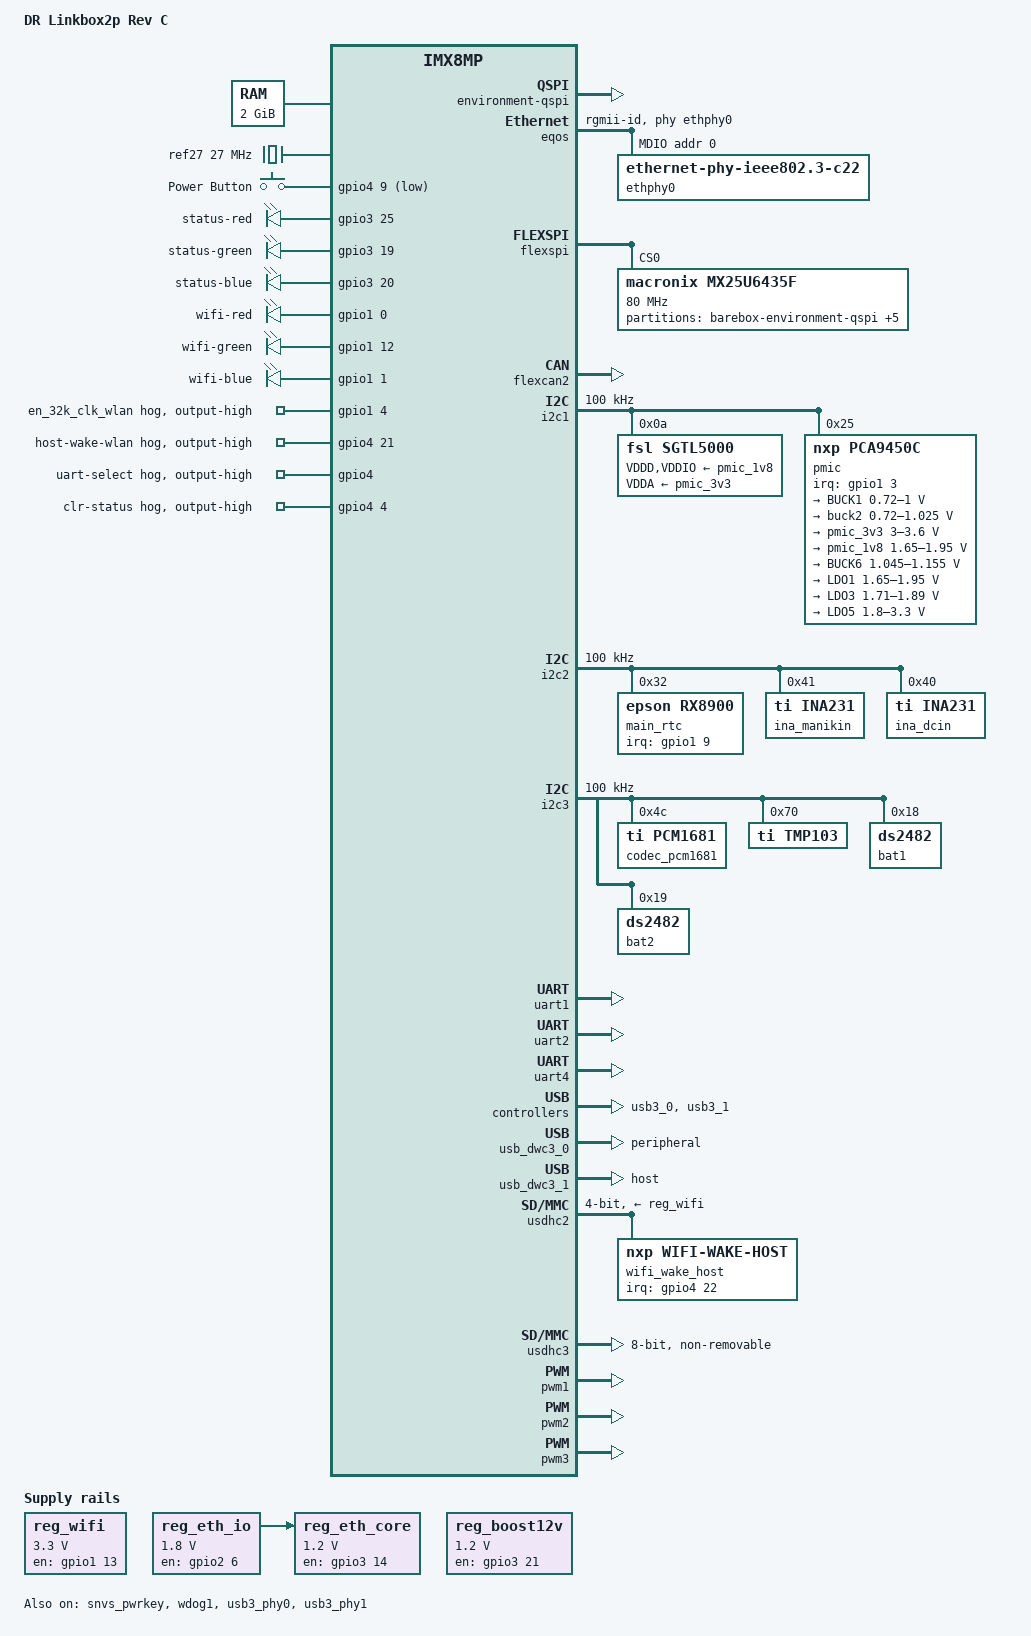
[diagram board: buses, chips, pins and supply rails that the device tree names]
/*
 * Copyright DATA RESPONS AS
 *
 * The code contained herein is licensed under the GNU General Public
 * License. You may obtain a copy of the GNU General Public License
 * Version 2 or later at the following locations:
 *
 * http://www.opensource.org/licenses/gpl-license.html
 * http://www.gnu.org/copyleft/gpl.html
 */
/dts-v1/;

#ifdef CONFIG_BOOTM_FITIMAGE_PUBKEY
#include CONFIG_BOOTM_FITIMAGE_PUBKEY
#endif

#include <dt-bindings/input/input.h>
#include <dt-bindings/gpio/gpio.h>
#include <dt-bindings/usb/pd.h>
#include "imx8mp-nominal.dtsi"
#include "imx8mp.dtsi"

/ {
	model = "DR Linkbox2p Rev C";
	compatible = "datarespons,linkbox2p", "fsl,imx8mp";

	aliases {
		mmc0 = &usdhc3;
		ethernet0 = &eqos;
		btserial = "ttymxc1";
		rtc0 = &main_rtc;
		rtc1 = &snvs_rtc;
		state = &state_linkbox;
	};

	chosen {
		stdout-path = &uart2;

		environment-qspi {
			compatible = "barebox,environment";
			device-path = &mx25u6435f, "partname:barebox-environment-qspi";
			status = "okay";
		};
	};

	memory@40000000 {
		device_type = "memory";
		reg = <0x0 0x40000000 0 0x80000000>; 	/* 2 GB DDR */
	};

	state_linkbox: state {
		magic = <0x883b86a6>;
		compatible = "barebox,state";
		backend-type = "raw";
		backend = <&backend_state_qspi>;
		backend-stridesize = <64>;
		status = "okay";
		backend-storage-type = "circular";

		#address-cells = <1>;
		#size-cells = <1>;
		bootstate {
			#address-cells = <1>;
			#size-cells = <1>;
			last_chosen {
				reg = <0x0 0x4>;
				type = "uint32";
			};
			system0 {
				#address-cells = <1>;
				#size-cells = <1>;
				remaining_attempts {
					reg = <0x4 0x4>;
					type = "uint32";
					default = <3>;
				};
				priority {
					reg = <0x8 0x4>;
					type = "uint32";
					default = <21>;
				};
				ok {
					reg = <0xc 0x4>;
					type = "uint32";
					default = <0>;
				};
			};
			system1 {
				#address-cells = <1>;
				#size-cells = <1>;
				remaining_attempts {
					reg = <0x10 0x4>;
					type = "uint32";
					default = <3>;
				};
				priority {
					reg = <0x14 0x4>;
					type = "uint32";
					default = <20>;
				};
				ok {
					reg = <0x18 0x4>;
					type = "uint32";
					default = <0>;
				};
			};
		};
	};
	/delete-node/ display-subsystem;


	clocks {
		wlan_clk: clock@1 {
		#clock-cells = <0>;
            compatible = "fixed-clock";
            clock-output-names = "slp-clk";
            clock-frequency = <32768>;
            gpio = <&gpio1 4 0>; // EN_32KO-RTC
        };

		/*bt_clk: clock@1 {
		#clock-cells = <0>;
            compatible = "fixed-clock";
            clock-output-names = "lpo";
            clock-frequency = <32768>;
        };*/

		/* 27MHz reference crystal */
		ref27: oscillator {
			compatible = "fixed-clock";
			#clock-cells = <0>;
			clock-frequency = <27000000>;
		};
	};

	regulators {
		compatible = "simple-bus";

		reg_wifi: wifi_pwr {
			compatible = "regulator-fixed";
			regulator-name = "reg_wifi";
			regulator-min-microvolt = <3300000>;
			regulator-max-microvolt = <3300000>;
			gpio = <&gpio1 13 0>; /* PMIC_EN-WLAN */
			enable-active-high;
			regulator-always-on;
		};

		reg_eth_io: eth-io {
			pinctrl-names = "default";
			pinctrl-0 = <&pinctrl_reg_eth_io>;
			compatible = "regulator-fixed";
			regulator-name = "reg-eth-io";
			regulator-min-microvolt = <1800000>;
			regulator-max-microvolt = <1800000>;
			gpio = <&gpio2 6 GPIO_ACTIVE_HIGH>; /* EN_PWR-ENET_A */
			enable-active-high;
		};

		reg_eth_core: eth-core {
			pinctrl-names = "default";
			pinctrl-0 = <&pinctrl_reg_eth_core>;
			compatible = "regulator-fixed";
			regulator-name = "reg-eth-core";
			regulator-min-microvolt = <1200000>;
			regulator-max-microvolt = <1200000>;
			gpio = <&gpio3 14 GPIO_ACTIVE_HIGH>; /* EN_1V2-ENET_A */
			enable-active-high;
			vin-supply = <&reg_eth_io>;
			startup-delay-us = <20>;
			regulator-always-on;
		};

		reg_boost12v: boost12v {
			compatible = "regulator-fixed";
			regulator-name = "reg-boost-12v";
			regulator-min-microvolt = <1200000>;
			regulator-max-microvolt = <1200000>;
			gpio = <&gpio3 21 GPIO_ACTIVE_HIGH>;
			enable-active-high;
			regulator-always-on;
		};
	};

	gpio-keys {
		compatible = "gpio-keys";
		power {
			label = "Power Button";
			gpios = <&gpio4 9 GPIO_ACTIVE_LOW>;
			linux,code = <KEY_POWER>; /* KEY_POWER */
			gpio-key,wakeup;
		};
	};

	leds {
		compatible = "gpio-leds";
		pinctrl-names = "default";
		pinctrl-0 = <&pinctrl_gpio_led>;

		status-red {
			gpios = <&gpio3 25 GPIO_ACTIVE_HIGH>;
			default-state = "off";
		};

		status-green {
			gpios = <&gpio3 19 GPIO_ACTIVE_HIGH>;
			default-state = "on";
			linux,default-trigger = "timer";
		};

		status-blue {
			gpios = <&gpio3 20 GPIO_ACTIVE_HIGH>;
			default-state = "off";
		};

		wifi-red {
			gpios = <&gpio1 0 GPIO_ACTIVE_HIGH>;
			default-state = "off";
		};

		wifi-green {
			gpios = <&gpio1 12 GPIO_ACTIVE_HIGH>;
			default-state = "off";
		};

		wifi-blue {
			gpios = <&gpio1 1 GPIO_ACTIVE_HIGH>;
			default-state = "off";
		};
	};

};

&gpc {
	compatible = "fsl,imx8mpl-gpc";
};

&A53_0 {
	cpu-supply = <&buck2>;
};

&A53_1 {
	cpu-supply = <&buck2>;
};

&A53_2 {
	cpu-supply = <&buck2>;
};

&A53_3 {
	cpu-supply = <&buck2>;
};

&snvs_pwrkey {
	status = "okay";
};

&gpio1 {
	gpio-line-names = "", "", "", "", "", "can-stby", "", "can-en-term",
						"can-shdn", "", "", "", "", "pmic-enable-wlan", "", "";

	en_32k_clk_wlan {
		gpio-hog;
		gpios = <4 GPIO_ACTIVE_HIGH>;
		output-high;
	};
};


&gpio3 {
	gpio-line-names = "", "", "", "", "", "", "", "",
						"spinor-wp", "", "", "", "", "", "", "";
};

&gpio4 {
	gpio-line-names = "", "", "", "", "", "", "", "",
						"", "", "", "", "", "", "mcu_reset", "mcu_boot0",
						"mcu_boot1", "hwrev0", "hwrev1", "hwrev2", "sai1-mclk", "host-wake-wlan", "wlan-wake-host", "",
						"", "", "", "", "", "", "", "";

	host-wake-wlan {
		gpio-hog;
		gpios = <21 GPIO_ACTIVE_HIGH>;
		output-high;
	};

	uart-select {
		gpio-hog;
		gpiso = <0 GPIO_ACTIVE_HIGH>;
		output-high;
	};

	clr-status {
		gpio-hog;
		gpios = <4 GPIO_ACTIVE_HIGH>;
		output-high;
	};
};

&gpio5 {
	gpio-line-names = "", "", "", "bt-wake-host", "host-wake-bt", "", "", "",
						"", "", "", "", "", "", "", "",
						"", "", "", "", "pcie-clkreqn", "", "", "";
};


&eqos {
	pinctrl-names = "default";
	pinctrl-0 = <&pinctrl_eqos>;
	phy-mode = "rgmii-id";
	phy-handle = <&ethphy0>;
	snps,force_thresh_dma_mode;
	status = "okay";
	snps,reset-gpios = <&gpio2 5 GPIO_ACTIVE_LOW>; /* ETHPHY_nRST */
	snps,reset-delays-us = <0 10000 30000>;
	status = "okay";

	mdio {
		compatible = "snps,dwmac-mdio";
		#address-cells = <1>;
		#size-cells = <0>;

		ethphy0: ethernet-phy@0 {
			compatible = "ethernet-phy-ieee802.3-c22";
			reg = <0>;
		};
	};
};


&flexspi {
	pinctrl-names = "default";
	pinctrl-0 = <&pinctrl_flexspi0>;
	status = "okay";

	mx25u6435f: flash@0 { /* MX25U6432FM2I02 (64 Mbit) */
		reg = <0>;
		#address-cells = <1>;
		#size-cells = <1>;
		compatible = "macronix,mx25u6435f", "jedec,spi-nor";
		spi-max-frequency = <80000000>;
		spi-tx-bus-width = <1>;
		spi-rx-bus-width = <4>;
		spi-nor,ddr-quad-read-dummy = <6>;

	};
};

&mx25u6435f {
	partitions {
		compatible = "fixed-partitions";
		#address-cells = <1>;
		#size-cells = <1>;

		partition@0 {
			label = "barebox-environment-qspi";
			reg = <0x0 0x40000>;
		};

		backend_state_qspi: state@40000 {
			label = "barebox-state";
			reg = <0x40000 0xc0000>;
		};

		partition@100000 {
			label = "system_a";
			reg = <0x100000 0x40000>;
		};
		partition@140000 {
			label = "system_b";
			reg = <0x140000 0x40000>;
		};

		partition@180000 {
			label = "user_a";
			reg = <0x180000 0x40000>;
		};
		partition@1c0000 {
			label = "user_b";
			reg = <0x1c0000 0x40000>;
		};
	};
};

&flexcan2 {
	pinctrl-names = "default";
	pinctrl-0 = <&pinctrl_flexcan2>;
	status = "okay";
};

&i2c1 {
	clock-frequency = <100000>;
	pinctrl-names = "default";
	pinctrl-0 = <&pinctrl_i2c1>;
	status = "okay";

	sgtl5000: audio-codec@a {
		compatible = "fsl,sgtl5000";
		clocks = <&si5351 0>;
		#sound-dai-cells = <0>;
		reg = <0x0a>;
		VDDD-supply = <&pmic_1v8>;
		VDDIO-supply = <&pmic_1v8>;
		VDDA-supply = <&pmic_3v3>;
		micbias-resistor-k-ohms = <0>;
		micbias-voltage-m-volts = <2500>;
	};

	pmic: pca9450@25 {
		compatible = "nxp,pca9450c";
		reg = <0x25>;
		pinctrl-names = "default";
		pinctrl-0 = <&pinctrl_pmic>;
		interrupt-parent = <&gpio1>;
		interrupts = <3 IRQ_TYPE_LEVEL_LOW>;

		regulators {
			BUCK1 {
				regulator-name = "BUCK1";
				regulator-min-microvolt = <720000>;
				regulator-max-microvolt = <1000000>;
				regulator-boot-on;
				regulator-always-on;
				regulator-ramp-delay = <3125>;
			};

			buck2: BUCK2 {
				regulator-name = "BUCK2";
				regulator-min-microvolt = <720000>;
				regulator-max-microvolt = <1025000>;
				regulator-boot-on;
				regulator-always-on;
				regulator-ramp-delay = <3125>;
				nxp,dvs-run-voltage = <950000>;
				nxp,dvs-standby-voltage = <850000>;
			};

			pmic_3v3: BUCK4 {
				regulator-name = "pmic-3v3";
				regulator-min-microvolt = <3000000>;
				regulator-max-microvolt = <3600000>;
				regulator-boot-on;
				regulator-always-on;
			};

			pmic_1v8: BUCK5 {
				regulator-name = "pmic-1v8";
				regulator-min-microvolt = <1650000>;
				regulator-max-microvolt = <1950000>;
				regulator-boot-on;
				regulator-always-on;
			};

			BUCK6 {
				regulator-name = "BUCK6";
				regulator-min-microvolt = <1045000>;
				regulator-max-microvolt = <1155000>;
				regulator-boot-on;
				regulator-always-on;
			};

			LDO1 {
				regulator-name = "LDO1";
				regulator-min-microvolt = <1650000>;
				regulator-max-microvolt = <1950000>;
				regulator-boot-on;
				regulator-always-on;
			};

			LDO3 {
				regulator-name = "LDO3";
				regulator-min-microvolt = <1710000>;
				regulator-max-microvolt = <1890000>;
				regulator-boot-on;
				regulator-always-on;
			};

			LDO5 {
				regulator-name = "LDO5";
				regulator-min-microvolt = <1800000>;
				regulator-max-microvolt = <3300000>;
				regulator-boot-on;
				regulator-always-on;
			};
		};
	};
};

&i2c2 { /* RTC X1B000271A00400/rx8900, PCIE_CLK PI6CFGL201BZDIE, MBATT BQ27541-G1 BQ28Z610 */
	clock-frequency = <100000>;
	pinctrl-names = "default";
	pinctrl-0 = <&pinctrl_i2c2>;
	status = "okay";

	main_rtc: rtc-rx8900@32 {
		compatible = "epson,rx8900";
		reg = <0x32>;
		interrupt-parent = <&gpio1>;
		interrupts = <9 IRQ_TYPE_LEVEL_LOW>;
	};

	ina_manikin: ina231@41 {
		compatible = "ti,ina231";
		reg = <0x41>;
		shunt-resistor = <10000>;
	};

	ina_dcin: ina231@40 {
		compatible = "ti,ina231";
		reg = <0x40>;
		shunt-resistor = <10000>;
	};
};

&i2c3 { /* CTP EXC80H32 , CTP EXC80H32	see exc3000.c */
	clock-frequency = <100000>;
	pinctrl-names = "default";
	pinctrl-0 = <&pinctrl_i2c3>;
	status = "okay";

	codec_pcm1681: pcm1681@4c {
		compatible = "ti,pcm1681";
		reg = <0x4c>;
		clocks = <&si5351 1>;
		clock-names = "mclk";
	};

	si5351: clock-generator@60 {
		compatible = "silabs,si5351a";
		reg = <0x60>;
		#address-cells = <1>;
		#size-cells = <0>;
		#clock-cells = <1>;
		status = "disabled";

		/* connect xtal input to 27MHz reference */
		clocks = <&ref27>;
		clock-names = "xtal";
		/* connect xtal input as source of pll0 and pll1 */
		silabs,pll-source = <0 0>, <1 0>;

		clkout0 {
			reg = <0>;
			silabs,drive-strength = <8>;
			silabs,multisynth-source = <0>;
			silabs,clock-source = <0>;
			silabs,pll-master;
			clock-frequency = <24576000>;
		};

		clkout1 {
			reg = <0>;
			silabs,drive-strength = <8>;
			silabs,multisynth-source = <0>;
			silabs,clock-source = <0>;
			silabs,pll-master;
			clock-frequency = <24576000>;
		};
	};

	/*thermal_sensor: TMP103AYFFR*/
	tmp103: tmp103@70 {
		compatible = "ti,tmp103";
		reg = <0x70>;
	};

	/* DS2482X-101+T */
	/* defconfig W1_MASTER_DS2482*/
	bat1: ds2482@18 {
		compatible = "ds2482";
		reg = <0x18>;
	};

	/* DS2482X-101+T */
	/* defconfig W1_MASTER_DS2482*/
	bat2: ds2482@19 {
		compatible = "ds2482";
		reg = <0x19>;
	};

};

&wdog1 {
	pinctrl-names = "default";
	pinctrl-0 = <&pinctrl_wdog>;
	fsl,ext-reset-output;
	status = "okay";
};

/* PAD defs for IMX8MP
BIT8: PULL Enable=1
BIT7: HYS Shmitt=1
BIT6: PUE Down=0, Up=1
BIT5: ODE
BIT4: SLEW Fast=1
BIT2:1 STRENGTH x1,x2,x4,x6
*/

&iomuxc {
	pinctrl-names = "default";
	pinctrl-0 = <&pinctrl_hog>;

	pinctrl_hog: hoggrp {
		fsl,pins = <
			MX8MP_IOMUXC_GPIO1_IO04__GPIO1_IO04			0x142		/* EN_32KO-RTC (WLAN SLP_CLK-WLAN)*/
			MX8MP_IOMUXC_GPIO1_IO09__GPIO1_IO09			0x1c0		/* RTC nIRQ */
			MX8MP_IOMUXC_GPIO1_IO13__GPIO1_IO13			0x002		/* GP--WL_BAT_PWR_EN PMIC_EN-WLAN */

			MX8MP_IOMUXC_SAI1_RXD7__GPIO4_IO09			0x180		/* PWR_BTN_SNS PWR_BTN_SNS-CPUGPI*/
			MX8MP_IOMUXC_SAI1_TXD5__GPIO4_IO17			0x00		/* HW_Setting_0 */
			MX8MP_IOMUXC_SAI1_TXD6__GPIO4_IO18			0x00		/* HW_Setting_1 */
			MX8MP_IOMUXC_SAI1_TXD7__GPIO4_IO19			0x00		/* HW_Setting_2 */
			MX8MP_IOMUXC_SAI2_MCLK__GPIO4_IO27			0x1c0		/* LINE_OUTD_DET */

			MX8MP_IOMUXC_SPDIF_EXT_CLK__GPIO5_IO05		0x1c0		/* LINE_IND_DET */
			MX8MP_IOMUXC_SPDIF_RX__GPIO5_IO04			0x142		/* HOST_WAKEUP_BT, PU */
			MX8MP_IOMUXC_SPDIF_TX__GPIO5_IO03			0x180		/* BT_WAKEUP_HOST, PD */

			MX8MP_IOMUXC_SAI1_TXD2__GPIO4_IO14			0x004  		/* GP-CPU2MCU_RST */
            MX8MP_IOMUXC_SAI1_TXD3__GPIO4_IO15			0x004  		/* MCU_BOOT0 */
            MX8MP_IOMUXC_SAI1_TXD4__GPIO4_IO16			0x004  		/* MCU_BOOT1 */

			MX8MP_IOMUXC_GPIO1_IO08__GPIO1_IO08			0x04		/* SHDN-CAN1 (ext pd) */
			MX8MP_IOMUXC_GPIO1_IO05__GPIO1_IO05			0x04		/* CAN1_STBY (ext pd) */

			MX8MP_IOMUXC_SAI1_RXFS__GPIO4_IO00			0x002		/* USB_UART_SELECT */
			MX8MP_IOMUXC_SAI5_RXD0__GPIO3_IO21			0x002		/* PWR_BOOST_EN */

			MX8MP_IOMUXC_UART1_RXD__GPIO5_IO22		0x106		/* EN-12V-MANIKIN */
			MX8MP_IOMUXC_UART1_TXD__GPIO5_IO23		0x106		/* EN-5V-MANIKIN */
			MX8MP_IOMUXC_GPIO1_IO06__GPIO1_IO06 	0x026		/* nSD-AC5W (OD) */
			MX8MP_IOMUXC_SAI1_RXD3__GPIO4_IO05		0x006		/* nSD-1WSP */
			MX8MP_IOMUXC_SAI5_RXD1__GPIO3_IO22		0x1c0		/* GP--BAT1_nDET */
			MX8MP_IOMUXC_SAI1_TXD1__GPIO4_IO13  	0x1c0		/* BAT2_DET_N */
            MX8MP_IOMUXC_SAI5_RXD2__GPIO3_IO23		0x1c0		/* nVALID_2 */
            MX8MP_IOMUXC_GPIO1_IO07__GPIO1_IO07		0x1c0		/* nVALID_3 */
            MX8MP_IOMUXC_SAI1_RXD5__GPIO4_IO07		0x000		/* START_ADAPTER-CPUGPI */
            MX8MP_IOMUXC_SAI1_RXD4__GPIO4_IO06		0x000		/* START_KEY-CPUGPI */

			MX8MP_IOMUXC_SAI1_RXD0__GPIO4_IO02		0x004		/* UV2-CPU */
			MX8MP_IOMUXC_SAI1_RXD1__GPIO4_IO03		0x004		/* UV3-CPU */
			MX8MP_IOMUXC_I2C4_SCL__GPIO5_IO20		0x004		/* EN_BAT1-CPU */
			MX8MP_IOMUXC_I2C4_SDA__GPIO5_IO21		0x004		/* EN_BAT2-CPU */
			MX8MP_IOMUXC_SAI1_RXD2__GPIO4_IO04		0x002		/* CLR_STATUS , CLR_STATUS-CPUGPO*/
			MX8MP_IOMUXC_SAI1_RXD6__GPIO4_IO08		0x000		/* DCIN_VALIDO from CPLD */
		>;
	};

	pinctrl_reg_eth_io: ethiogrp {
		fsl,pins = <
			MX8MP_IOMUXC_SD1_DATA4__GPIO2_IO06	0x104	/* EN_PWR-ENET_A */
		>;
	};

	pinctrl_reg_eth_core: ethcoregrp {
		fsl,pins = <
			MX8MP_IOMUXC_NAND_DQS__GPIO3_IO14	0x104	/* EN_1V2-ENET_A */
		>;
	};

	pinctrl_pmic: pmicgrp {
		fsl,pins = <
			MX8MP_IOMUXC_GPIO1_IO03__GPIO1_IO03		0x1c0	/* PMIC_nINT */
		>;
	};

	pinctrl_wifi1: wifi1grp {
		fsl,pins = <
			MX8MP_IOMUXC_SAI2_RXFS__GPIO4_IO21		0x142	/* HOST_WAKEUP_WLAN */
			MX8MP_IOMUXC_SAI2_RXC__GPIO4_IO22		0x1C0	/* WLAN_WAKEUP_HOST */
		>;
	};

	pinctrl_wdog: wdoggrp {
		fsl,pins = <
			MX8MP_IOMUXC_GPIO1_IO02__WDOG1_WDOG_B		  0xc6		 /* WDOG_B */
		>;
	};

	pinctrl_flexspi0: flexspi0grp {
		fsl,pins = <
			MX8MP_IOMUXC_NAND_ALE__FLEXSPI_A_SCLK		0x1c2
			MX8MP_IOMUXC_NAND_CE0_B__FLEXSPI_A_SS0_B	0x82
			MX8MP_IOMUXC_NAND_DATA00__FLEXSPI_A_DATA00	0x82
			MX8MP_IOMUXC_NAND_DATA01__FLEXSPI_A_DATA01	0x82
			MX8MP_IOMUXC_NAND_DATA02__FLEXSPI_A_DATA02	0x82
			MX8MP_IOMUXC_NAND_DATA03__FLEXSPI_A_DATA03	0x82
		>;
	};


	/* UART BT */
	pinctrl_uart1: uart1grp {
		fsl,pins = <
			MX8MP_IOMUXC_SD1_CLK__UART1_DCE_TX		0x014
			MX8MP_IOMUXC_SD1_CMD__UART1_DCE_RX		0x014
			MX8MP_IOMUXC_SD1_DATA0__UART1_DCE_RTS	0x014
			MX8MP_IOMUXC_SD1_DATA1__UART1_DCE_CTS	0x014
		>;
	};

	/* UART CPU */
	pinctrl_uart2: uart2grp {
		fsl,pins = <
			MX8MP_IOMUXC_UART2_RXD__UART2_DCE_RX	0x102
			MX8MP_IOMUXC_UART2_TXD__UART2_DCE_TX	0x102
		>;
	};

	/* UART IOMCU */
	pinctrl_uart4: uart4grp {
		fsl,pins = <
			MX8MP_IOMUXC_UART4_RXD__UART4_DCE_RX	0x102 /* UART_TX-IOMCU */
			MX8MP_IOMUXC_UART4_TXD__UART4_DCE_TX	0x102 /* UART_RX-IOMCU */
		>;
	};

	pinctrl_i2c1: i2c1grp {
		fsl,pins = <
			MX8MP_IOMUXC_I2C1_SCL__I2C1_SCL		 0x400001c2
			MX8MP_IOMUXC_I2C1_SDA__I2C1_SDA		 0x400001c2
		>;
	};

	pinctrl_i2c2: i2c2grp {
		fsl,pins = <
			MX8MP_IOMUXC_I2C2_SCL__I2C2_SCL		 0x400001c2
			MX8MP_IOMUXC_I2C2_SDA__I2C2_SDA		 0x400001c2
		>;
	};

	pinctrl_i2c3: i2c3grp {
		fsl,pins = <
			MX8MP_IOMUXC_I2C3_SCL__I2C3_SCL		0x400001c2
			MX8MP_IOMUXC_I2C3_SDA__I2C3_SDA		0x400001c2
		>;
	};

	pinctrl_usdhc2: usdhc2grp {
		fsl,pins = <
			MX8MP_IOMUXC_SD2_CLK__USDHC2_CLK		0x192
			MX8MP_IOMUXC_SD2_CMD__USDHC2_CMD		0x1d2
			MX8MP_IOMUXC_SD2_DATA0__USDHC2_DATA0	0x1d2
			MX8MP_IOMUXC_SD2_DATA1__USDHC2_DATA1	0x1d2
			MX8MP_IOMUXC_SD2_DATA2__USDHC2_DATA2	0x1d2
			MX8MP_IOMUXC_SD2_DATA3__USDHC2_DATA3	0x1d2
		>;
	};

	pinctrl_usdhc2_100mhz: usdhc2-100mhzgrp {
		fsl,pins = <
			MX8MP_IOMUXC_SD2_CLK__USDHC2_CLK		0x194
			MX8MP_IOMUXC_SD2_CMD__USDHC2_CMD		0x1d4
			MX8MP_IOMUXC_SD2_DATA0__USDHC2_DATA0	0x1d4
			MX8MP_IOMUXC_SD2_DATA1__USDHC2_DATA1	0x1d4
			MX8MP_IOMUXC_SD2_DATA2__USDHC2_DATA2	0x1d4
			MX8MP_IOMUXC_SD2_DATA3__USDHC2_DATA3	0x1d4
		>;
	};

	pinctrl_usdhc2_200mhz: usdhc2-200mhzgrp {
		fsl,pins = <
			MX8MP_IOMUXC_SD2_CLK__USDHC2_CLK		0x196
			MX8MP_IOMUXC_SD2_CMD__USDHC2_CMD		0x1d6
			MX8MP_IOMUXC_SD2_DATA0__USDHC2_DATA0	0x1d6
			MX8MP_IOMUXC_SD2_DATA1__USDHC2_DATA1	0x1d6
			MX8MP_IOMUXC_SD2_DATA2__USDHC2_DATA2	0x1d6
			MX8MP_IOMUXC_SD2_DATA3__USDHC2_DATA3	0x1d6
		>;
	};

	pinctrl_usdhc3: usdhc3grp { /* EMMC eMMC16G-TB28-A20 */
		fsl,pins = <
			MX8MP_IOMUXC_NAND_WE_B__USDHC3_CLK		0x192 /*SD3_CLK*/
			MX8MP_IOMUXC_NAND_WP_B__USDHC3_CMD		0x1d2 /*SD3_CMD*/
			MX8MP_IOMUXC_NAND_DATA04__USDHC3_DATA0	0x1d2 /*SD3_DATA0*/
			MX8MP_IOMUXC_NAND_DATA05__USDHC3_DATA1	0x1d2 /*SD3_DATA1*/
			MX8MP_IOMUXC_NAND_DATA06__USDHC3_DATA2	0x1d2 /*SD3_DATA2*/
			MX8MP_IOMUXC_NAND_DATA07__USDHC3_DATA3	0x1d2 /*SD3_DATA3*/
			MX8MP_IOMUXC_NAND_RE_B__USDHC3_DATA4	0x1d2 /*SD3_DATA4*/
			MX8MP_IOMUXC_NAND_CE2_B__USDHC3_DATA5	0x1d2 /*SD3_DATA5*/
			MX8MP_IOMUXC_NAND_CE3_B__USDHC3_DATA6	0x1d2 /*SD3_DATA6*/
			MX8MP_IOMUXC_NAND_CLE__USDHC3_DATA7		0x1d2 /*SD3_DATA7*/
			MX8MP_IOMUXC_NAND_CE1_B__USDHC3_STROBE	0x192 /* SD3_STROBE*/
		>;
	};

	pinctrl_usdhc3_100mhz: usdhc3-100mhzgrp {
		fsl,pins = <
			MX8MP_IOMUXC_NAND_WE_B__USDHC3_CLK		0x194 /*SD3_CLK*/
			MX8MP_IOMUXC_NAND_WP_B__USDHC3_CMD		0x1d4 /*SD3_CMD*/
			MX8MP_IOMUXC_NAND_DATA04__USDHC3_DATA0	0x1d4 /*SD3_DATA0*/
			MX8MP_IOMUXC_NAND_DATA05__USDHC3_DATA1	0x1d4 /*SD3_DATA1*/
			MX8MP_IOMUXC_NAND_DATA06__USDHC3_DATA2	0x1d4 /*SD3_DATA2*/
			MX8MP_IOMUXC_NAND_DATA07__USDHC3_DATA3	0x1d4 /*SD3_DATA3*/
			MX8MP_IOMUXC_NAND_RE_B__USDHC3_DATA4	0x1d4 /*SD3_DATA4*/
			MX8MP_IOMUXC_NAND_CE2_B__USDHC3_DATA5	0x1d4 /*SD3_DATA5*/
			MX8MP_IOMUXC_NAND_CE3_B__USDHC3_DATA6	0x1d4 /*SD3_DATA6*/
			MX8MP_IOMUXC_NAND_CLE__USDHC3_DATA7		0x1d4 /*SD3_DATA7*/
			MX8MP_IOMUXC_NAND_CE1_B__USDHC3_STROBE	0x194 /* SD3_STROBE*/
		>;
	};

	pinctrl_usdhc3_200mhz: usdhc3-200mhzgrp {
		fsl,pins = <
			MX8MP_IOMUXC_NAND_WE_B__USDHC3_CLK		0x196 /*SD3_CLK*/
			MX8MP_IOMUXC_NAND_WP_B__USDHC3_CMD		0x1d6 /*SD3_CMD*/
			MX8MP_IOMUXC_NAND_DATA04__USDHC3_DATA0	0x1d6 /*SD3_DATA0*/
			MX8MP_IOMUXC_NAND_DATA05__USDHC3_DATA1	0x1d6 /*SD3_DATA1*/
			MX8MP_IOMUXC_NAND_DATA06__USDHC3_DATA2	0x1d6 /*SD3_DATA2*/
			MX8MP_IOMUXC_NAND_DATA07__USDHC3_DATA3	0x1d6 /*SD3_DATA3*/
			MX8MP_IOMUXC_NAND_RE_B__USDHC3_DATA4	0x1d6 /*SD3_DATA4*/
			MX8MP_IOMUXC_NAND_CE2_B__USDHC3_DATA5	0x1d6 /*SD3_DATA5*/
			MX8MP_IOMUXC_NAND_CE3_B__USDHC3_DATA6	0x1d6 /*SD3_DATA6*/
			MX8MP_IOMUXC_NAND_CLE__USDHC3_DATA7		0x1d6 /*SD3_DATA7*/
			MX8MP_IOMUXC_NAND_CE1_B__USDHC3_STROBE	0x196 /* SD3_STROBE*/
		>;
	};

	pinctrl_sai1: sai1grp {
		fsl,pins = <
			MX8MP_IOMUXC_SAI1_MCLK__AUDIOMIX_SAI1_MCLK			0xd6 /*SAI1_MCLK - PCM_SCLK-PCMDAC */
			MX8MP_IOMUXC_SAI1_TXFS__AUDIOMIX_SAI1_TX_SYNC		0xd6 /*SAI1_TXFS - PCM_LRCK-PCMDAC */
			MX8MP_IOMUXC_SAI1_TXC__AUDIOMIX_SAI1_TX_BCLK		0xd6 /*SAI1_TXC - PCM_BCLK-PCMDAC*/
			MX8MP_IOMUXC_SAI1_TXD0__AUDIOMIX_SAI1_TX_DATA00		0xd6 /*SAI1_TXD0 - PCM_DAT1-PCMDAC*/
		>;
	};

	pinctrl_sai2: sai2grp {
		fsl,pins = <
			MX8MP_IOMUXC_SAI2_RXD0__AUDIOMIX_SAI2_RX_DATA00		0xd6 /*SAI2_RXD0 - BT_PCM_DIN*/
			MX8MP_IOMUXC_SAI2_TXC__AUDIOMIX_SAI2_TX_BCLK		0xd6 /*SAI2_TXC - BT_PCM_CLK*/
			MX8MP_IOMUXC_SAI2_TXD0__AUDIOMIX_SAI2_TX_DATA00		0xd6 /*SAI2_TXD0 - BT_PCM_SDOUT*/
			MX8MP_IOMUXC_SAI2_TXFS__AUDIOMIX_SAI2_TX_SYNC		0xd6 /*SAI2_TXFS - BT_PCM_SYNC*/
		>;
	};

	pinctrl_sai3: sai3grp {
		fsl,pins = <
			MX8MP_IOMUXC_SAI3_RXD__AUDIOMIX_SAI3_RX_DATA00		0xd6 /*-Audio_a - SAI3_RXD*/
			MX8MP_IOMUXC_SAI3_TXC__AUDIOMIX_SAI3_TX_BCLK		0xd6 /*I2S_BCLK-Audio_a - SAI3_TXC*/
			MX8MP_IOMUXC_SAI3_TXD__AUDIOMIX_SAI3_TX_DATA00		0xd6 /*I2S_DACDAT-Audio_a - SAI3_TXD*/
			MX8MP_IOMUXC_SAI3_TXFS__AUDIOMIX_SAI3_TX_SYNC		0xd6 /*I2S_LRCLK-Audio_a - SAI3_TXFS*/
			MX8MP_IOMUXC_SAI3_MCLK__AUDIOMIX_SAI3_MCLK			0xd6 /*I2S_MCLKF-Audio_a - SAI3_MCLK*/
			MX8MP_IOMUXC_SAI3_RXFS__GPIO4_IO28					0x80 /* Codec irq */
		>;
	};

	pinctrl_eqos: eqosgrp {
		fsl,pins = <
			MX8MP_IOMUXC_ENET_MDC__ENET_QOS_MDC				0x2
			MX8MP_IOMUXC_ENET_MDIO__ENET_QOS_MDIO			0x2
			MX8MP_IOMUXC_ENET_TD3__ENET_QOS_RGMII_TD3		0x16
			MX8MP_IOMUXC_ENET_TD2__ENET_QOS_RGMII_TD2		0x16
			MX8MP_IOMUXC_ENET_TD1__ENET_QOS_RGMII_TD1		0x16
			MX8MP_IOMUXC_ENET_TD0__ENET_QOS_RGMII_TD0		0x16
			MX8MP_IOMUXC_ENET_TX_CTL__ENET_QOS_RGMII_TX_CTL 0x16
			MX8MP_IOMUXC_ENET_TXC__CCM_ENET_QOS_CLOCK_GENERATE_TX_CLK	0x16
			MX8MP_IOMUXC_ENET_RX_CTL__ENET_QOS_RGMII_RX_CTL 0x80
			MX8MP_IOMUXC_ENET_RXC__CCM_ENET_QOS_CLOCK_GENERATE_RX_CLK	0x80
			MX8MP_IOMUXC_ENET_RD0__ENET_QOS_RGMII_RD0		0x00
			MX8MP_IOMUXC_ENET_RD1__ENET_QOS_RGMII_RD1		0x00
			MX8MP_IOMUXC_ENET_RD2__ENET_QOS_RGMII_RD2		0x00
			MX8MP_IOMUXC_ENET_RD3__ENET_QOS_RGMII_RD3		0x00
			MX8MP_IOMUXC_SD1_DATA2__GPIO2_IO04				0x80	/* nINT_ENET_A */
			MX8MP_IOMUXC_SD1_DATA3__GPIO2_IO05				0x02	/* ETHPHY_nRST */
		>;
	};

	pinctrl_gpio_led: gpioledgrp {
		fsl,pins = <
			MX8MP_IOMUXC_SAI5_MCLK__GPIO3_IO25		0x142 /* LED_R_Status--CPU */
			MX8MP_IOMUXC_SAI5_RXFS__GPIO3_IO19		0x142 /* LED_G_Status--CPU */
			MX8MP_IOMUXC_SAI5_RXC__GPIO3_IO20		0x142 /* LED_B_Status--CPU */
			MX8MP_IOMUXC_GPIO1_IO00__GPIO1_IO00		0x142 /* WIFI_LED_CTL_R */
			MX8MP_IOMUXC_GPIO1_IO12__GPIO1_IO12		0x142 /* WIFI_LED_CTL_G */
			MX8MP_IOMUXC_GPIO1_IO01__GPIO1_IO01		0x142 /* WIFI_LED_CTL_B */

		>;
	};

	pinctrl_flexcan2: flexcan2grp {
		fsl,pins = <
			MX8MP_IOMUXC_UART3_RXD__CAN2_TX			0x140
			MX8MP_IOMUXC_UART3_TXD__CAN2_RX			0x154
		>;
	};

	/* PWM_ECG */
	pinctrl_pwm_ecg: ecggrp {
		fsl,pins = <
			MX8MP_IOMUXC_GPIO1_IO11__PWM2_OUT			0x006
		>;
	};

	pinctrl_pwm_gpo1: gpo1grp {
		fsl,pins = <
			MX8MP_IOMUXC_GPIO1_IO15__PWM4_OUT			0x006
		>;
	};

	pinctrl_pwm_gpo2: gpo2grp {
		fsl,pins = <
			MX8MP_IOMUXC_GPIO1_IO10__PWM3_OUT			0x006
		>;
	};

		pinctrl_usb1_vbus: usb1grp {
		fsl,pins = <
			MX8MP_IOMUXC_GPIO1_IO14__USB2_OTG_PWR	0x002
		>;
	};
};

&uart1 {
	pinctrl-names = "default";
	pinctrl-0 = <&pinctrl_uart1>;
	assigned-clocks = <&clk IMX8MP_CLK_UART1>;
	assigned-clock-parents = <&clk IMX8MP_SYS_PLL1_80M>;
	fsl,uart-has-rtscts;
	status = "okay";
};

&uart2 {
	pinctrl-names = "default";
	pinctrl-0 = <&pinctrl_uart2>;
	status = "okay";
};

&uart3 {
	status = "disabled";
};

&uart4 {
	pinctrl-names = "default";
	pinctrl-0 = <&pinctrl_uart4>;
	status = "okay";
};

/* USB-OTG */
&usb3_phy0 {
	status = "okay";

};

&usb3_0 {
	status = "okay";
};

&usb_dwc3_0 {
	dr_mode = "peripheral";
	status = "okay";
};


&usb3_phy1 {
	status = "okay";
};

&usb3_1 {
	status = "okay";
};

&usb_dwc3_1 {
	pinctrl-names = "default";
	pinctrl-0 = <&pinctrl_usb1_vbus>;
	dr_mode = "host";
	status = "okay";
};

&usdhc2 {
	assigned-clocks = <&clk IMX8MP_CLK_USDHC1>;
	assigned-clock-rates = <400000000>;
	pinctrl-names = "default", "state_100mhz", "state_200mhz";
	pinctrl-0 = <&pinctrl_usdhc2>, <&pinctrl_wifi1>;
	pinctrl-1 = <&pinctrl_usdhc2_100mhz>, <&pinctrl_wifi1>;
	pinctrl-2 = <&pinctrl_usdhc2_200mhz>, <&pinctrl_wifi1> ;
	vmmc-supply = <&reg_wifi>;
	bus-width = <4>;
	status = "okay";

	wifi_wake_host {
		compatible = "nxp,wifi-wake-host";
		interrupt-parent = <&gpio4>;
		interrupts = <22 IRQ_TYPE_LEVEL_LOW>;
		interrupt-names = "host-wake";
	};
};

&usdhc3 {
	assigned-clocks = <&clk IMX8MP_CLK_USDHC3>;
	assigned-clock-rates = <400000000>;
	pinctrl-names = "default", "state_100mhz", "state_200mhz";
	pinctrl-0 = <&pinctrl_usdhc3>;
	pinctrl-1 = <&pinctrl_usdhc3_100mhz>;
	pinctrl-2 = <&pinctrl_usdhc3_200mhz>;
	bus-width = <8>;
	non-removable;
	status = "okay";
};

&usdhc3 {
	partitions {
		compatible = "fixed-partitions";
		#size-cells = <1>;
		#address-cells = <1>;

		partition@0 {
			label = "barebox";
			reg = <0x0 0xe0000>;
		};

		partition@e0000 {
			label = "barebox-environment";
			reg = <0xe0000 0x20000>;
		};

		backend_state_usdhc: partition@100000 {
			reg = <0x100000 0x100000>;
			label = "state-emmc";
		};
	};
};

&pwm1 {
	pinctrl-names = "default";
	pinctrl-0 = <&pinctrl_pwm_gpo1>;
	status = "okay";
};

&pwm2 {
	pinctrl-names = "default";
	pinctrl-0 = <&pinctrl_pwm_ecg>;
	status = "okay";
};

&pwm3 {
	pinctrl-names = "default";
	pinctrl-0 = <&pinctrl_pwm_gpo2>;
	status = "okay";
};

&pcie {
	status = "disabled";
};

&pcie_phy{
	ext_osc = <1>;
	status = "disabled";
};
